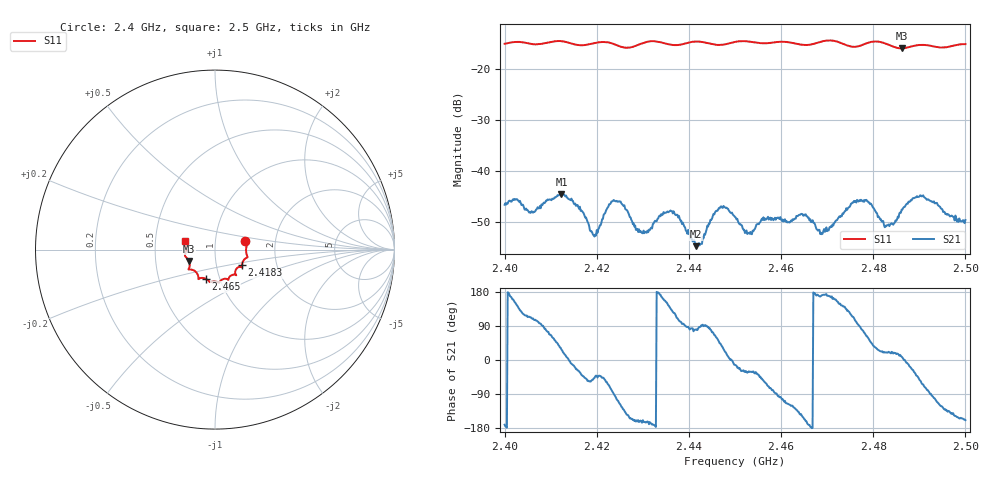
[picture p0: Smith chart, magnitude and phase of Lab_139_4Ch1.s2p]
# Hz S RI R 50
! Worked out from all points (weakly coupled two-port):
!   601 points, 2.4 GHz to 2.5 GHz, reference 50 ohm
!   highest |S21| = -44.53 dB at 2.4123 GHz (marker M1); lowest = -54.7 dB at 2.4415 GHz (marker M2)
!   lowest |S11| = -16.0 dB at 2.4862 GHz (marker M3), VSWR 1.38, Z = 37.1 - j4.81 ohm
!   |S11| at or under -10 dB: start of sweep to end of sweep
!   S12 and S22 are empty: the file has one direction only
!   S11 on the Smith chart (normalised r, x): 2.4 GHz: 1.40, +0.13; 2.4183 GHz: 1.33, -0.24; 2.465 GHz: 0.86, -0.29; 2.5 GHz: 0.71, +0.07
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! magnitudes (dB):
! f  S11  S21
! 2.4 GHz  -15.1  -46.6
! 2.406 GHz  -15.2  -48.0
! 2.4123 GHz  -14.6  -44.5
! 2.4167 GHz  -15.4  -47.7
! 2.4183 GHz  -15.2  -50.7
! 2.4198 GHz  -14.9  -52.6
! 2.4238 GHz  -15.2  -45.8
! 2.4295 GHz  -15.2  -51.7
! 2.4333 GHz  -14.7  -49.3
! 2.4365 GHz  -15.4  -48.3
! 2.4415 GHz  -14.7  -54.7
! 2.4465 GHz  -15.4  -47.3
! 2.45 GHz  -14.8  -49.0
! 2.4532 GHz  -14.7  -52.3
! 2.465 GHz  -15.4  -48.5
! 2.4667 GHz  -15.2  -50.0
! 2.469 GHz  -14.7  -52.3
! 2.4783 GHz  -15.1  -45.8
! 2.4833 GHz  -15.3  -50.5
! 2.4862 GHz  -16.0  -47.6
! 2.4905 GHz  -15.4  -45.0
! 2.5 GHz  -15.2  -49.6
